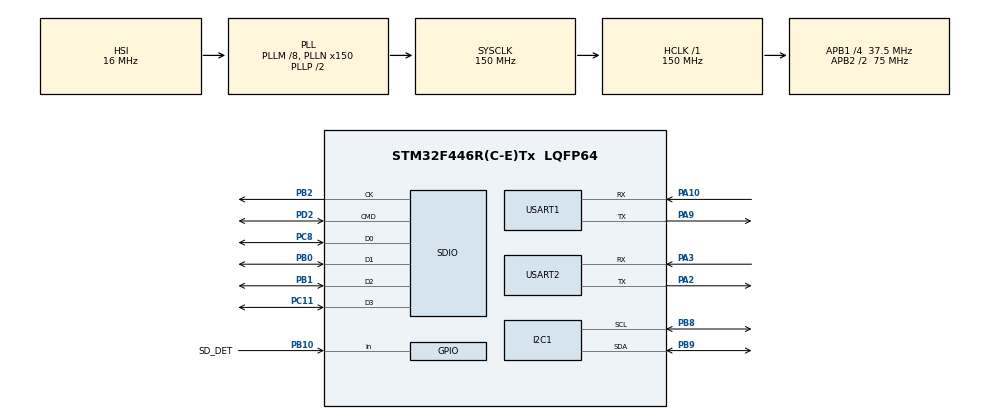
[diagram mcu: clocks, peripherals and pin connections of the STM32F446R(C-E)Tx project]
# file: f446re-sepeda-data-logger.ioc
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ADC1.Channel-0\#ChannelRegularConversion=ADC_CHANNEL_TEMPSENSOR
ADC1.NbrOfConversionFlag=1
ADC1.Rank-0\#ChannelRegularConversion=1
ADC1.SamplingTime-0\#ChannelRegularConversion=ADC_SAMPLETIME_3CYCLES
ADC1.master=1
FATFS.BSP.number=1
FATFS0.BSP.STBoard=false
FATFS0.BSP.api=Unknown
FATFS0.BSP.instance=PB10
FATFS0.BSP.ip=GPIO
FATFS0.BSP.mode=Input
FATFS0.BSP.name=Detect_SDIO
FATFS0.BSP.solution=PB10
FREERTOS.Tasks01=defaultTask,24,512,StartDefaultTask,Default,NULL,Dynamic,NULL,NULL
FREERTOS.configMAX_TASK_NAME_LEN=32
FREERTOS.configUSE_NEWLIB_REENTRANT=1
Mcu.Family=STM32F4
Mcu.Name=STM32F446R(C-E)Tx
Mcu.Package=LQFP64
NVIC.PriorityGroup=NVIC_PRIORITYGROUP_4
NVIC.TIM7_IRQn=true\:15\:0\:false\:false\:true\:false\:false\:true\:true
NVIC.TimeBase=TIM7_IRQn
NVIC.TimeBaseIP=TIM7
PA10.Mode=Asynchronous
PA10.Signal=USART1_RX
PA13.Mode=Trace_Asynchronous_SW
PA13.Signal=SYS_JTMS-SWDIO
PA14.Mode=Trace_Asynchronous_SW
PA14.Signal=SYS_JTCK-SWCLK
PA2.Mode=Asynchronous
PA2.Signal=USART2_TX
PA3.Mode=Asynchronous
PA3.Signal=USART2_RX
PA9.Mode=Asynchronous
PA9.Signal=USART1_TX
PB0.Mode=SD_4_bits_Wide_bus
PB0.Signal=SDIO_D1
PB1.Mode=SD_4_bits_Wide_bus
PB1.Signal=SDIO_D2
PB10.GPIO_Label=SD_DET
PB10.Signal=GPIO_Input
PB2.Mode=SD_4_bits_Wide_bus
PB2.Signal=SDIO_CK
PB3.Mode=Trace_Asynchronous_SW
PB3.Signal=SYS_JTDO-SWO
PB8.Mode=I2C
PB8.Signal=I2C1_SCL
PB9.Mode=I2C
PB9.Signal=I2C1_SDA
PC11.Mode=SD_4_bits_Wide_bus
PC11.Signal=SDIO_D3
PC14-OSC32_IN.Mode=LSE-External-Oscillator
PC14-OSC32_IN.Signal=RCC_OSC32_IN
PC15-OSC32_OUT.Mode=LSE-External-Oscillator
PC15-OSC32_OUT.Signal=RCC_OSC32_OUT
PC8.Mode=SD_4_bits_Wide_bus
PC8.Signal=SDIO_D0
PD2.Mode=SD_4_bits_Wide_bus
PD2.Signal=SDIO_CMD
PH0-OSC_IN.Mode=HSE-External-Oscillator
PH0-OSC_IN.Signal=RCC_OSC_IN
PH1-OSC_OUT.Mode=HSE-External-Oscillator
PH1-OSC_OUT.Signal=RCC_OSC_OUT
ProjectManager.HeapSize=0x200
ProjectManager.StackSize=0x400
ProjectManager.TargetToolchain=STM32CubeIDE
RCC.48MHZClocksFreq_Value=84000000
RCC.AHBFreq_Value=150000000
RCC.APB1CLKDivider=RCC_HCLK_DIV4
RCC.APB1Freq_Value=37500000
RCC.APB1TimFreq_Value=75000000
RCC.APB2CLKDivider=RCC_HCLK_DIV2
RCC.APB2Freq_Value=75000000
RCC.APB2TimFreq_Value=150000000
RCC.CortexFreq_Value=150000000
RCC.FLatency-AdvancedSettings=FLASH_LATENCY_4
RCC.HCLKFreq_Value=150000000
RCC.HSE_VALUE=8000000
RCC.HSI_VALUE=16000000
RCC.PLLM=8
RCC.PLLN=150
RCC.PLLQ=7
RCC.SYSCLKFreq_VALUE=150000000
RCC.SYSCLKSource=RCC_SYSCLKSOURCE_PLLCLK
RCC.USBFreq_Value=42857142.85714286
RCC.VCOOutputFreq_Value=300000000
USART1.VirtualMode=VM_ASYNC
USART2.VirtualMode=VM_ASYNC
VP_ADC1_TempSens_Input.Mode=IN-TempSens
VP_FATFS_VS_SDIO.Mode=SDIO
VP_FREERTOS_VS_CMSIS_V2.Mode=CMSIS_V2
VP_RTC_VS_RTC_Activate.Mode=RTC_Enabled
VP_RTC_VS_RTC_Calendar.Mode=RTC_Calendar
VP_SYS_VS_tim7.Mode=TIM7
board=NUCLEO-F446RE

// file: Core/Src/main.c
/* USER CODE BEGIN Header */
/**
 ******************************************************************************
 * @file           : main.c
 * @brief          : Main program body
 ******************************************************************************
 * @attention
 *
 * Copyright (c) 2025 STMicroelectronics.
 * All rights reserved.
 *
 * This software is licensed under terms that can be found in the LICENSE file
 * in the root directory of this software component.
 * If no LICENSE file comes with this software, it is provided AS-IS.
 *
 ******************************************************************************
 */
/* USER CODE END Header */
#include "main.h"
#include "cmsis_os.h"
#include "fatfs.h"

/* USER CODE BEGIN Includes */
#include "stdlib.h"
#include "string.h"
#include "stdio.h"
#include "math.h"
#include "mpu6050.h" // Sertakan file header MPU6050
/* USER CODE END Includes */

ADC_HandleTypeDef hadc1;

I2C_HandleTypeDef hi2c1;

RTC_HandleTypeDef hrtc;

SD_HandleTypeDef hsd;

UART_HandleTypeDef huart1;
UART_HandleTypeDef huart2;

/* Definitions for defaultTask */
osThreadId_t defaultTaskHandle;
const osThreadAttr_t defaultTask_attributes = {
  .name = "defaultTask",
  .stack_size = 512 * 4,
  .priority = (osPriority_t) osPriorityNormal,
};
/* USER CODE BEGIN PV */
MPU6050_t MPU6050_Data;
/* USER CODE END PV */

void SystemClock_Config(void);
static void MX_GPIO_Init(void);
static void MX_USART2_UART_Init(void);
static void MX_I2C1_Init(void);
static void MX_SDIO_SD_Init(void);
static void MX_USART1_UART_Init(void);
static void MX_ADC1_Init(void);
static void MX_RTC_Init(void);
void StartDefaultTask(void *argument);

/* USER CODE BEGIN PFP */
#ifdef __GNUC__
/* Dengan GCC, tautkan stdout ke UART */
#define PUTCHAR_PROTOTYPE int __io_putchar(int ch)
#else
#define PUTCHAR_PROTOTYPE int fputc(int ch, FILE *f)
#endif /* __GNUC__ */
/* USER CODE END PFP */

int main(void)
{

  /* MCU Configuration--------------------------------------------------------*/

  /* Reset of all peripherals, Initializes the Flash interface and the Systick. */
  HAL_Init();

  /* Configure the system clock */
  SystemClock_Config();

  /* Initialize all configured peripherals */
  MX_GPIO_Init();
  MX_USART2_UART_Init();
  MX_I2C1_Init();
  MX_SDIO_SD_Init();
  MX_USART1_UART_Init();
  MX_FATFS_Init();
  MX_ADC1_Init();
  MX_RTC_Init();
  /* USER CODE BEGIN 2 */
  MPU6050_Init(&hi2c1);
  /* USER CODE END 2 */

  /* Init scheduler */
  osKernelInitialize();

  /* Create the thread(s) */
  /* creation of defaultTask */
  defaultTaskHandle = osThreadNew(StartDefaultTask, NULL, &defaultTask_attributes);

  /* Start scheduler */
  osKernelStart();

  /* We should never get here as control is now taken by the scheduler */

  /* Infinite loop */
  while (1)
  {

  }
}

void SystemClock_Config(void)
{
  RCC_OscInitTypeDef RCC_OscInitStruct = {0};
  RCC_ClkInitTypeDef RCC_ClkInitStruct = {0};

  /** Configure the main internal regulator output voltage
  */
  __HAL_RCC_PWR_CLK_ENABLE();
  __HAL_PWR_VOLTAGESCALING_CONFIG(PWR_REGULATOR_VOLTAGE_SCALE1);

  /** Initializes the RCC Oscillators according to the specified parameters
  * in the RCC_OscInitTypeDef structure.
  */
  RCC_OscInitStruct.OscillatorType = RCC_OSCILLATORTYPE_HSI|RCC_OSCILLATORTYPE_LSI;
  RCC_OscInitStruct.LSEState = RCC_LSE_ON;
  RCC_OscInitStruct.HSIState = RCC_HSI_ON;
  RCC_OscInitStruct.HSICalibrationValue = RCC_HSICALIBRATION_DEFAULT;
  RCC_OscInitStruct.LSIState = RCC_LSI_ON;
  RCC_OscInitStruct.PLL.PLLState = RCC_PLL_ON;
  RCC_OscInitStruct.PLL.PLLSource = RCC_PLLSOURCE_HSI;
  RCC_OscInitStruct.PLL.PLLM = 8;
  RCC_OscInitStruct.PLL.PLLN = 150;
  RCC_OscInitStruct.PLL.PLLP = RCC_PLLP_DIV2;
  RCC_OscInitStruct.PLL.PLLQ = 7;
  RCC_OscInitStruct.PLL.PLLR = 2;
  if (HAL_RCC_OscConfig(&RCC_OscInitStruct) != HAL_OK)
  {
    Error_Handler();
  }

  /** Initializes the CPU, AHB and APB buses clocks
  */
  RCC_ClkInitStruct.ClockType = RCC_CLOCKTYPE_HCLK|RCC_CLOCKTYPE_SYSCLK
                              |RCC_CLOCKTYPE_PCLK1|RCC_CLOCKTYPE_PCLK2;
  RCC_ClkInitStruct.SYSCLKSource = RCC_SYSCLKSOURCE_PLLCLK;
  RCC_ClkInitStruct.AHBCLKDivider = RCC_SYSCLK_DIV1;
  RCC_ClkInitStruct.APB1CLKDivider = RCC_HCLK_DIV4;
  RCC_ClkInitStruct.APB2CLKDivider = RCC_HCLK_DIV2;

  if (HAL_RCC_ClockConfig(&RCC_ClkInitStruct, FLASH_LATENCY_4) != HAL_OK)
  {
    Error_Handler();
  }
}

static void MX_ADC1_Init(void)
{

  ADC_ChannelConfTypeDef sConfig = {0};

  /** Configure the global features of the ADC (Clock, Resolution, Data Alignment and number of conversion)
  */
  hadc1.Instance = ADC1;
  hadc1.Init.ClockPrescaler = ADC_CLOCK_SYNC_PCLK_DIV4;
  hadc1.Init.Resolution = ADC_RESOLUTION_12B;
  hadc1.Init.ScanConvMode = DISABLE;
  hadc1.Init.ContinuousConvMode = DISABLE;
  hadc1.Init.DiscontinuousConvMode = DISABLE;
  hadc1.Init.ExternalTrigConvEdge = ADC_EXTERNALTRIGCONVEDGE_NONE;
  hadc1.Init.ExternalTrigConv = ADC_SOFTWARE_START;
  hadc1.Init.DataAlign = ADC_DATAALIGN_RIGHT;
  hadc1.Init.NbrOfConversion = 1;
  hadc1.Init.DMAContinuousRequests = DISABLE;
  hadc1.Init.EOCSelection = ADC_EOC_SINGLE_CONV;
  if (HAL_ADC_Init(&hadc1) != HAL_OK)
  {
    Error_Handler();
  }

  /** Configure for the selected ADC regular channel its corresponding rank in the sequencer and its sample time.
  */
  sConfig.Channel = ADC_CHANNEL_TEMPSENSOR;
  sConfig.Rank = 1;
  sConfig.SamplingTime = ADC_SAMPLETIME_3CYCLES;
  if (HAL_ADC_ConfigChannel(&hadc1, &sConfig) != HAL_OK)
  {
    Error_Handler();
  }

}

static void MX_I2C1_Init(void)
{

  hi2c1.Instance = I2C1;
  hi2c1.Init.ClockSpeed = 100000;
  hi2c1.Init.DutyCycle = I2C_DUTYCYCLE_2;
  hi2c1.Init.OwnAddress1 = 0;
  hi2c1.Init.AddressingMode = I2C_ADDRESSINGMODE_7BIT;
  hi2c1.Init.DualAddressMode = I2C_DUALADDRESS_DISABLE;
  hi2c1.Init.OwnAddress2 = 0;
  hi2c1.Init.GeneralCallMode = I2C_GENERALCALL_DISABLE;
  hi2c1.Init.NoStretchMode = I2C_NOSTRETCH_DISABLE;
  if (HAL_I2C_Init(&hi2c1) != HAL_OK)
  {
    Error_Handler();
  }

}

static void MX_RTC_Init(void)
{

  RTC_TimeTypeDef sTime = {0};
  RTC_DateTypeDef sDate = {0};

  /** Initialize RTC Only
  */
  hrtc.Instance = RTC;
  hrtc.Init.HourFormat = RTC_HOURFORMAT_24;
  hrtc.Init.AsynchPrediv = 127;
  hrtc.Init.SynchPrediv = 255;
  hrtc.Init.OutPut = RTC_OUTPUT_DISABLE;
  hrtc.Init.OutPutPolarity = RTC_OUTPUT_POLARITY_HIGH;
  hrtc.Init.OutPutType = RTC_OUTPUT_TYPE_OPENDRAIN;
  if (HAL_RTC_Init(&hrtc) != HAL_OK)
  {
    Error_Handler();
  }

  /** Initialize RTC and set the Time and Date
  */
  sTime.Hours = 0x0;
  sTime.Minutes = 0x0;
  sTime.Seconds = 0x0;
  sTime.DayLightSaving = RTC_DAYLIGHTSAVING_NONE;
  sTime.StoreOperation = RTC_STOREOPERATION_RESET;
  if (HAL_RTC_SetTime(&hrtc, &sTime, RTC_FORMAT_BCD) != HAL_OK)
  {
    Error_Handler();
  }
  sDate.WeekDay = RTC_WEEKDAY_MONDAY;
  sDate.Month = RTC_MONTH_JANUARY;
  sDate.Date = 0x1;
  sDate.Year = 0x0;

  if (HAL_RTC_SetDate(&hrtc, &sDate, RTC_FORMAT_BCD) != HAL_OK)
  {
    Error_Handler();
  }

}

static void MX_SDIO_SD_Init(void)
{

  hsd.Instance = SDIO;
  hsd.Init.ClockEdge = SDIO_CLOCK_EDGE_RISING;
  hsd.Init.ClockBypass = SDIO_CLOCK_BYPASS_DISABLE;
  hsd.Init.ClockPowerSave = SDIO_CLOCK_POWER_SAVE_DISABLE;
  hsd.Init.BusWide = SDIO_BUS_WIDE_4B;
  hsd.Init.HardwareFlowControl = SDIO_HARDWARE_FLOW_CONTROL_DISABLE;
  hsd.Init.ClockDiv = 0;

}

static void MX_USART1_UART_Init(void)
{

  huart1.Instance = USART1;
  huart1.Init.BaudRate = 115200;
  huart1.Init.WordLength = UART_WORDLENGTH_8B;
  huart1.Init.StopBits = UART_STOPBITS_1;
  huart1.Init.Parity = UART_PARITY_NONE;
  huart1.Init.Mode = UART_MODE_TX_RX;
  huart1.Init.HwFlowCtl = UART_HWCONTROL_NONE;
  huart1.Init.OverSampling = UART_OVERSAMPLING_16;
  if (HAL_UART_Init(&huart1) != HAL_OK)
  {
    Error_Handler();
  }

}

static void MX_USART2_UART_Init(void)
{

  huart2.Instance = USART2;
  huart2.Init.BaudRate = 115200;
  huart2.Init.WordLength = UART_WORDLENGTH_8B;
  huart2.Init.StopBits = UART_STOPBITS_1;
  huart2.Init.Parity = UART_PARITY_NONE;
  huart2.Init.Mode = UART_MODE_TX_RX;
  huart2.Init.HwFlowCtl = UART_HWCONTROL_NONE;
  huart2.Init.OverSampling = UART_OVERSAMPLING_16;
  if (HAL_UART_Init(&huart2) != HAL_OK)
  {
    Error_Handler();
  }

}

static void MX_GPIO_Init(void)
{
  GPIO_InitTypeDef GPIO_InitStruct = {0};

  /* GPIO Ports Clock Enable */
  __HAL_RCC_GPIOC_CLK_ENABLE();
  __HAL_RCC_GPIOH_CLK_ENABLE();
  __HAL_RCC_GPIOA_CLK_ENABLE();
  __HAL_RCC_GPIOB_CLK_ENABLE();
  __HAL_RCC_GPIOD_CLK_ENABLE();

  /*Configure GPIO pin : SD_DET_Pin */
  GPIO_InitStruct.Pin = SD_DET_Pin;
  GPIO_InitStruct.Mode = GPIO_MODE_INPUT;
  GPIO_InitStruct.Pull = GPIO_NOPULL;
  HAL_GPIO_Init(SD_DET_GPIO_Port, &GPIO_InitStruct);

}

/* USER CODE BEGIN 4 */

// Implementasi fungsi untuk MPU6050
void MPU6050_Init(I2C_HandleTypeDef *hi2c)
{
  uint8_t check;
  uint8_t Data;

  // Periksa ID perangkat
  HAL_I2C_Mem_Read(hi2c, MPU6050_ADDR, WHO_AM_I_REG, 1, &check, 1, 1000);

  if (check == 0x68) // 0x68 adalah nilai default dari WHO_AM_I
  {
    // Bangunkan sensor dari mode tidur
    Data = 0;
    HAL_I2C_Mem_Write(hi2c, MPU6050_ADDR, PWR_MGMT_1_REG, 1, &Data, 1, 1000);

    // Atur Sample Rate ke 1KHz
    Data = 0x07;
    HAL_I2C_Mem_Write(hi2c, MPU6050_ADDR, SMPLRT_DIV_REG, 1, &Data, 1, 1000);

    // Atur konfigurasi Akselerometer ke ±2g
    Data = 0x00;
    HAL_I2C_Mem_Write(hi2c, MPU6050_ADDR, ACCEL_CONFIG_REG, 1, &Data, 1, 1000);

    // Atur konfigurasi Giroskop ke ±250°/s
    Data = 0x00;
    HAL_I2C_Mem_Write(hi2c, MPU6050_ADDR, GYRO_CONFIG_REG, 1, &Data, 1, 1000);
  }
}

void MPU6050_Read_Accel(I2C_HandleTypeDef *hi2c, MPU6050_t *DataStruct)
{
  uint8_t Rec_Data[6];

  // Baca 6 byte data dari register ACCEL_XOUT_H
  HAL_I2C_Mem_Read(hi2c, MPU6050_ADDR, ACCEL_XOUT_H_REG, 1, Rec_Data, 6, 1000);

  DataStruct->Accel_X_RAW = (int16_t)(Rec_Data[0] << 8 | Rec_Data[1]);
  DataStruct->Accel_Y_RAW = (int16_t)(Rec_Data[2] << 8 | Rec_Data[3]);
  DataStruct->Accel_Z_RAW = (int16_t)(Rec_Data[4] << 8 | Rec_Data[5]);

  // Konversi nilai mentah ke 'g'
  DataStruct->Ax = DataStruct->Accel_X_RAW / 16384.0;
  DataStruct->Ay = DataStruct->Accel_Y_RAW / 16384.0;
  DataStruct->Az = DataStruct->Accel_Z_RAW / 16384.0;
}

void MPU6050_Read_Gyro(I2C_HandleTypeDef *hi2c, MPU6050_t *DataStruct)
{
  uint8_t Rec_Data[6];

  // Baca 6 byte data dari register GYRO_XOUT_H
  HAL_I2C_Mem_Read(hi2c, MPU6050_ADDR, GYRO_XOUT_H_REG, 1, Rec_Data, 6, 1000);

  DataStruct->Gyro_X_RAW = (int16_t)(Rec_Data[0] << 8 | Rec_Data[1]);
  DataStruct->Gyro_Y_RAW = (int16_t)(Rec_Data[2] << 8 | Rec_Data[3]);
  DataStruct->Gyro_Z_RAW = (int16_t)(Rec_Data[4] << 8 | Rec_Data[5]);

  // Konversi nilai mentah ke °/s
  DataStruct->Gx = DataStruct->Gyro_X_RAW / 131.0;
  DataStruct->Gy = DataStruct->Gyro_Y_RAW / 131.0;
  DataStruct->Gz = DataStruct->Gyro_Z_RAW / 131.0;
}

/**
 * @brief  Mengarahkan ulang fputc ke UART2 untuk fungsi printf.
 * @retval int
 */
PUTCHAR_PROTOTYPE
{
  /* Tulis satu karakter ke UART2 */
  HAL_UART_Transmit(&huart2, (uint8_t *)&ch, 1, HAL_MAX_DELAY);
  return ch;
}
/* USER CODE END 4 */

void StartDefaultTask(void *argument)
{
  /* USER CODE BEGIN 5 */
  /* Infinite loop */
  for (;;)
  {
    // Baca data sensor
    MPU6050_Read_Accel(&hi2c1, &MPU6050_Data);
    MPU6050_Read_Gyro(&hi2c1, &MPU6050_Data);

    // Cetak data ke serial monitor
    printf("Ax: %.2f, Ay: %.2f, Az: %.2f | Gx: %.2f, Gy: %.2f, Gz: %.2f\r\n",
           MPU6050_Data.Ax, MPU6050_Data.Ay, MPU6050_Data.Az,
           MPU6050_Data.Gx, MPU6050_Data.Gy, MPU6050_Data.Gz);

    osDelay(500); // Tunda selama 500 milidetik
  }
  /* USER CODE END 5 */
}

void HAL_TIM_PeriodElapsedCallback(TIM_HandleTypeDef *htim)
{
  if (htim->Instance == TIM7)
  {
    HAL_IncTick();
  }
}

void Error_Handler(void)
{
  __disable_irq();
  while (1)
  {
  }
}
